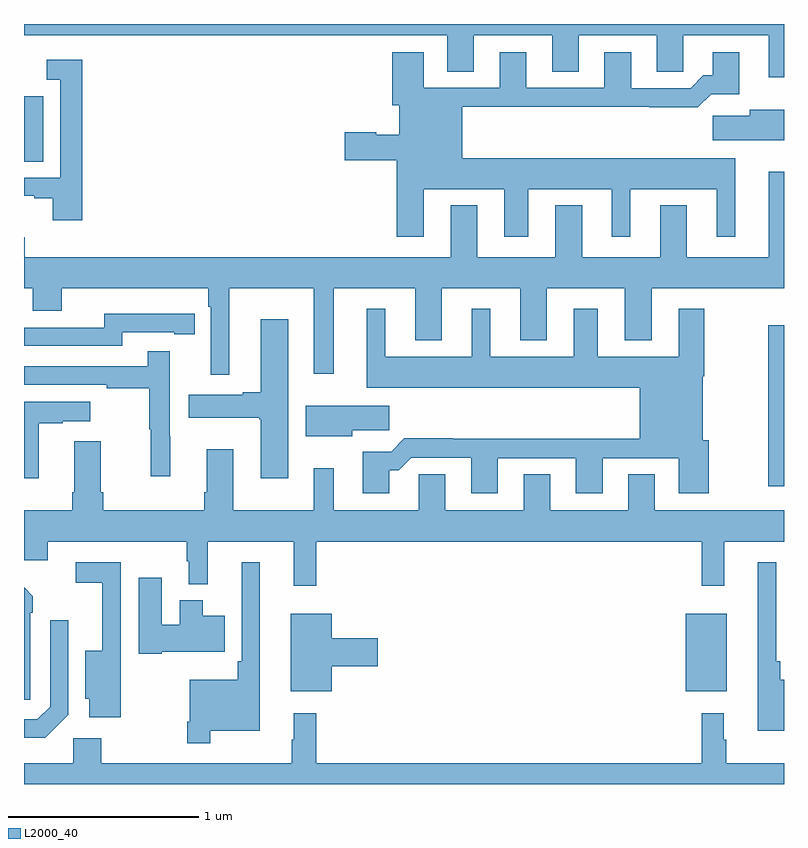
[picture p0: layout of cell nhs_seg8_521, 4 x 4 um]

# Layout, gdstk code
import gdstk
lib = gdstk.Library(unit=1e-6, precision=1e-09)
def R(c, l, rs):  # rectangles x0, y0, x1, y1
    for r in rs: c.add(gdstk.rectangle(r[:2], r[2:], *l))
def P(c, l, *ps):  # polygons
    for p in ps: c.add(gdstk.Polygon(p, *l))
L2000_40 = (2000, 40)

nhs_seg8_521 = lib.new_cell('nhs_seg8_521')
R(nhs_seg8_521, L2000_40, [(148.484,1106.387,148.699,1106.797), (148.917,1107.468,149,1108.315), (145,1109.176,145.102,1109.52)])
P(nhs_seg8_521, L2000_40, [(149,1109.9),(145,1109.9),(145,1109.84),(147.227,1109.84),(147.227,1109.65),(147.367,1109.65),(147.367,1109.84),(147.779,1109.84),(147.779,1109.65),(147.919,1109.65),(147.919,1109.84),(148.331,1109.84),(148.331,1109.65),(148.47,1109.65),(148.47,1109.84),(148.919,1109.84),(148.919,1109.619),(149,1109.619)],
  [(147.103,1109.03),(147.527,1109.03),(147.527,1108.779),(147.655,1108.779),(147.655,1109.03),(148.094,1109.03),(148.094,1108.779),(148.192,1108.779),(148.192,1109.03),(148.646,1109.03),(148.646,1108.779),(148.744,1108.779),(148.744,1109.194),(147.307,1109.194),(147.307,1109.464),(148.291,1109.464),(148.291,1109.462),(148.547,1109.462),(148.616,1109.531),(148.765,1109.531),(148.765,1109.752),(148.625,1109.752),(148.625,1109.629),(148.576,1109.629),(148.509,1109.562),(148.195,1109.562),(148.195,1109.752),(148.055,1109.752),(148.055,1109.565),(147.643,1109.565),(147.643,1109.752),(147.503,1109.752),(147.503,1109.565),(147.103,1109.565),(147.103,1109.752),(146.939,1109.752),(146.939,1109.472),(146.975,1109.472),(146.975,1109.317),(146.855,1109.317),(146.855,1109.33),(146.688,1109.33),(146.688,1109.183),(146.963,1109.183),(146.963,1108.779),(147.103,1108.779)],
  [(145.307,1109.713),(145.119,1109.713),(145.119,1109.607),(145.191,1109.607),(145.191,1109.091),(145,1109.091),(145,1108.995),(145.055,1108.995),(145.055,1108.983),(145.151,1108.983),(145.151,1108.866),(145.307,1108.866)],
  [(149,1109.449),(148.82,1109.449),(148.82,1109.417),(148.626,1109.417),(148.626,1109.288),(149,1109.288)],
  [(146.08,1108.508),(146.525,1108.508),(146.525,1108.059),(146.629,1108.059),(146.629,1108.508),(147.059,1108.508),(147.059,1108.235),(147.199,1108.235),(147.199,1108.508),(147.611,1108.508),(147.611,1108.235),(147.751,1108.235),(147.751,1108.508),(148.163,1108.508),(148.163,1108.235),(148.303,1108.235),(148.303,1108.508),(149,1108.508),(149,1109.122),(148.919,1109.122),(148.919,1108.672),(148.489,1108.672),(148.489,1108.945),(148.349,1108.945),(148.349,1108.672),(147.937,1108.672),(147.937,1108.945),(147.797,1108.945),(147.797,1108.672),(147.385,1108.672),(147.385,1108.945),(147.245,1108.945),(147.245,1108.672),(145.004,1108.672),(145.004,1108.778),(145,1108.778),(145,1108.508),(145.046,1108.508),(145.046,1108.391),(145.198,1108.391),(145.198,1108.508),(145.97,1108.508),(145.97,1108.412),(145.983,1108.412),(145.983,1108.053),(146.08,1108.053)],
  [(146.923,1107.551),(146.972,1107.551),(147.039,1107.618),(147.353,1107.618),(147.353,1107.429),(147.493,1107.429),(147.493,1107.615),(147.905,1107.615),(147.905,1107.429),(148.045,1107.429),(148.045,1107.615),(148.445,1107.615),(148.445,1107.429),(148.605,1107.429),(148.605,1107.708),(148.573,1107.708),(148.573,1108.046),(148.581,1108.046),(148.581,1108.402),(148.445,1108.402),(148.445,1108.15),(148.021,1108.15),(148.021,1108.402),(147.893,1108.402),(147.893,1108.15),(147.454,1108.15),(147.454,1108.402),(147.356,1108.402),(147.356,1108.15),(146.902,1108.15),(146.902,1108.402),(146.804,1108.402),(146.804,1107.986),(148.241,1107.986),(148.241,1107.716),(147.257,1107.716),(147.257,1107.719),(147.002,1107.719),(146.932,1107.649),(146.783,1107.649),(146.783,1107.429),(146.923,1107.429)],
  [(145.518,1108.278),(145.79,1108.278),(145.79,1108.266),(145.898,1108.266),(145.898,1108.374),(145.79,1108.374),(145.79,1108.375),(145.422,1108.375),(145.422,1108.302),(145,1108.302),(145,1108.206),(145.518,1108.206)],
  [(146.392,1108.345),(146.246,1108.345),(146.246,1107.962),(146.15,1107.962),(146.15,1107.949),(145.866,1107.949),(145.866,1107.827),(146.239,1107.827),(146.239,1107.82),(146.246,1107.82),(146.246,1107.51),(146.392,1107.51)],
  [(145.769,1107.731),(145.767,1107.731),(145.767,1108.177),(145.651,1108.177),(145.651,1108.098),(145,1108.098),(145,1108.002),(145.435,1108.002),(145.435,1107.982),(145.659,1107.982),(145.659,1107.768),(145.666,1107.768),(145.666,1107.519),(145.769,1107.519)],
  [(145.078,1107.799),(145.205,1107.799),(145.205,1107.809),(145.348,1107.809),(145.348,1107.913),(145,1107.913),(145,1107.51),(145.078,1107.51)],
  [(146.728,1107.763),(146.923,1107.763),(146.923,1107.892),(146.484,1107.892),(146.484,1107.731),(146.728,1107.731)],
  [(146.537,1107.176),(148.567,1107.176),(148.567,1106.943),(148.685,1106.943),(148.685,1107.176),(149,1107.176),(149,1107.34),(148.321,1107.34),(148.321,1107.53),(148.181,1107.53),(148.181,1107.34),(147.769,1107.34),(147.769,1107.53),(147.629,1107.53),(147.629,1107.34),(147.217,1107.34),(147.217,1107.53),(147.078,1107.53),(147.078,1107.34),(146.629,1107.34),(146.629,1107.562),(146.525,1107.562),(146.525,1107.34),(146.101,1107.34),(146.101,1107.661),(145.961,1107.661),(145.961,1107.436),(145.949,1107.436),(145.949,1107.34),(145.418,1107.34),(145.418,1107.436),(145.405,1107.436),(145.405,1107.703),(145.265,1107.703),(145.265,1107.436),(145.253,1107.436),(145.253,1107.34),(145,1107.34),(145,1107.078),(145.126,1107.078),(145.126,1107.176),(145.857,1107.176),(145.857,1107.073),(145.868,1107.073),(145.868,1106.951),(145.967,1106.951),(145.967,1107.176),(146.42,1107.176),(146.42,1106.943),(146.537,1106.943)],
  [(145.981,1106.18),(146.242,1106.18),(146.242,1107.067),(146.145,1107.067),(146.145,1106.545),(146.125,1106.545),(146.125,1106.449),(145.872,1106.449),(145.872,1106.227),(145.86,1106.227),(145.86,1106.115),(145.981,1106.115)],
  [(149,1106.449),(148.979,1106.449),(148.979,1106.545),(148.959,1106.545),(148.959,1107.067),(148.862,1107.067),(148.862,1106.18),(149,1106.18)],
  [(145.51,1106.449),(145.509,1106.449),(145.509,1107.066),(145.272,1107.066),(145.272,1106.958),(145.412,1106.958),(145.412,1106.602),(145.322,1106.602),(145.322,1106.349),(145.343,1106.349),(145.343,1106.252),(145.51,1106.252)],
  [(145.726,1106.597),(146.056,1106.597),(146.056,1106.785),(145.942,1106.785),(145.942,1106.866),(145.82,1106.866),(145.82,1106.737),(145.726,1106.737),(145.726,1106.986),(145.604,1106.986),(145.604,1106.585),(145.726,1106.585)],
  [(145.032,1106.801),(145.047,1106.801),(145.047,1106.889),(145,1106.936),(145,1106.343),(145.032,1106.343)],
  [(146.62,1106.519),(146.863,1106.519),(146.863,1106.666),(146.62,1106.666),(146.62,1106.797),(146.405,1106.797),(146.405,1106.387),(146.62,1106.387)],
  [(145.233,1106.265),(145.233,1106.761),(145.137,1106.761),(145.137,1106.307),(145.071,1106.241),(145,1106.241),(145,1106.144),(145.112,1106.144)],
  [(149,1106.008),(148.696,1106.008),(148.696,1106.132),(148.684,1106.132),(148.684,1106.272),(148.567,1106.272),(148.567,1106.008),(146.537,1106.008),(146.537,1106.272),(146.42,1106.272),(146.42,1106.132),(146.409,1106.132),(146.409,1106.008),(145.407,1106.008),(145.407,1106.14),(145.26,1106.14),(145.26,1106.008),(145,1106.008),(145,1105.9),(149,1105.9)])

lib.write_gds('nhs_seg8_521.gds')
